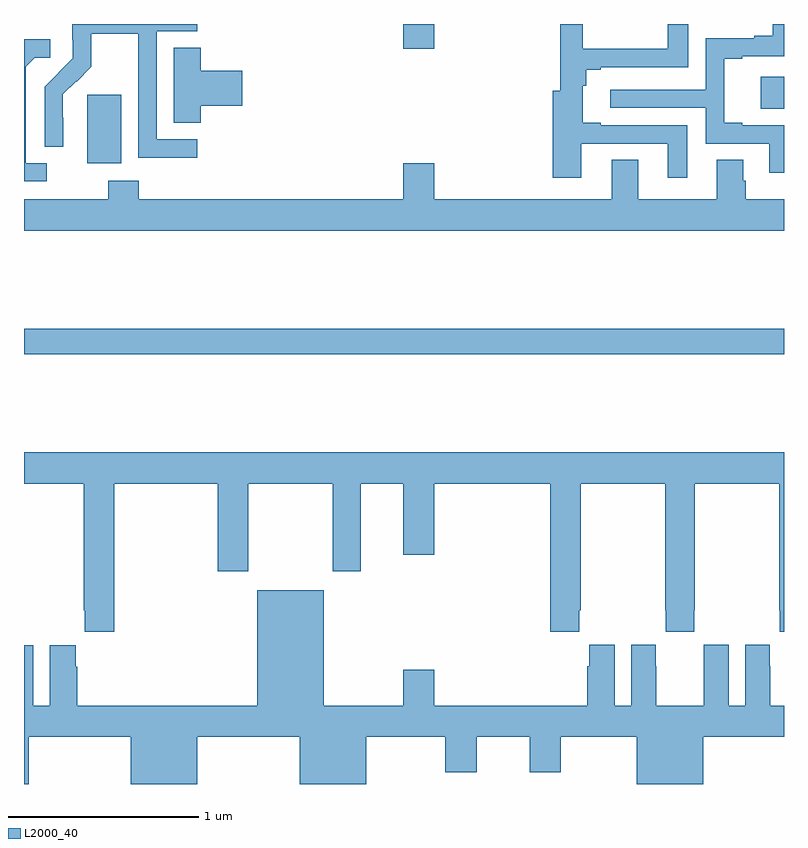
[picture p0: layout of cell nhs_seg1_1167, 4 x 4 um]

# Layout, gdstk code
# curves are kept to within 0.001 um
import gdstk
lib = gdstk.Library(unit=1e-6, precision=1e-09)
def R(c, l, rs):  # rectangles x0, y0, x1, y1
    for r in rs: c.add(gdstk.rectangle(r[:2], r[2:], *l))
def P(c, l, *ps):  # polygons
    for p in ps: c.add(gdstk.Polygon(p, *l))
L2000_40 = (2000, 40)

nhs_seg1_1167 = lib.new_cell('nhs_seg1_1167')
R(nhs_seg1_1167, L2000_40, [(175,504.46,179,504.596), (175.334,505.466,175.513,505.827), (178.878,505.754,179,505.921), (176.996,506.07,177.16,506.199)])
P(nhs_seg1_1167, L2000_40, [(177.934,505.569),(178.388,505.569),(178.388,505.389),(178.492,505.389),(178.492,505.665),(178.036,505.665),(178.036,505.678),(177.94,505.678),(177.94,505.874),(177.958,505.874),(177.958,505.959),(178.036,505.959),(178.036,505.971),(178.495,505.971),(178.495,506.199),(178.388,506.199),(178.388,506.068),(177.94,506.068),(177.94,506.199),(177.822,506.199),(177.822,505.849),(177.782,505.849),(177.782,505.389),(177.934,505.389)],
  [(179,505.665),(178.78,505.665),(178.78,505.678),(178.685,505.678),(178.685,506.016),(178.78,506.016),(178.78,506.028),(179,506.028),(179,506.199),(178.94,506.199),(178.94,506.137),(178.844,506.137),(178.844,506.124),(178.587,506.124),(178.587,505.854),(178.086,505.854),(178.086,505.758),(178.587,505.758),(178.587,505.569),(178.922,505.569),(178.922,505.416),(179,505.416)],
  [(175.912,505.593),(175.698,505.593),(175.698,506.16),(175.912,506.16),(175.912,506.199),(175.254,506.199),(175.254,506.115),(175.256,506.115),(175.256,506.018),(175.11,505.87),(175.11,505.552),(175.206,505.552),(175.205,505.829),(175.275,505.899),(175.278,505.896),(175.355,505.973),(175.355,506.148),(175.6,506.148),(175.6,505.924),(175.602,505.924),(175.602,505.495),(175.912,505.495)],
  [(175.12,505.467),(175.009,505.467),(175.009,505.975),(175.056,506.022),(175.138,506.022),(175.138,506.119),(175,506.119),(175,505.371),(175.12,505.371)],
  [(175.931,505.769),(176.149,505.769),(176.149,505.952),(175.931,505.952),(175.931,506.075),(175.787,506.075),(175.787,505.678),(175.931,505.678)],
  [(179,505.276),(178.799,505.276),(178.799,505.374),(178.786,505.374),(178.786,505.484),(178.646,505.484),(178.646,505.276),(178.234,505.276),(178.234,505.484),(178.094,505.484),(178.094,505.276),(177.16,505.276),(177.16,505.465),(176.996,505.465),(176.996,505.276),(175.604,505.276),(175.604,505.375),(175.444,505.375),(175.444,505.276),(175,505.276),(175,505.112),(179,505.112)],
  [(175.475,503.78),(176.021,503.78),(176.021,503.319),(176.181,503.319),(176.181,503.78),(176.626,503.78),(176.626,503.319),(176.773,503.319),(176.773,503.78),(176.996,503.78),(176.996,503.406),(177.16,503.406),(177.16,503.78),(177.77,503.78),(177.77,503.001),(177.923,503.001),(177.923,503.113),(177.93,503.113),(177.93,503.78),(178.375,503.78),(178.375,503.113),(178.377,503.113),(178.377,503.001),(178.527,503.001),(178.527,503.113),(178.53,503.113),(178.53,503.78),(178.975,503.78),(178.975,503.113),(178.977,503.113),(178.977,503.001),(179,503.001),(179,503.944),(175,503.944),(175,503.78),(175.315,503.78),(175.315,503.113),(175.319,503.113),(175.319,503.001),(175.475,503.001)],
  [(175.024,502.448),(175.562,502.448),(175.562,502.199),(175.912,502.199),(175.912,502.448),(176.45,502.448),(176.45,502.199),(176.8,502.199),(176.8,502.448),(177.218,502.448),(177.218,502.26),(177.382,502.26),(177.382,502.448),(177.662,502.448),(177.662,502.26),(177.826,502.26),(177.826,502.448),(178.226,502.448),(178.226,502.199),(178.576,502.199),(178.576,502.448),(179,502.448),(179,502.612),(178.927,502.612),(178.927,502.82),(178.926,502.82),(178.926,502.933),(178.796,502.933),(178.796,502.612),(178.708,502.612),(178.708,502.933),(178.578,502.933),(178.578,502.82),(178.577,502.82),(178.577,502.612),(178.327,502.612),(178.327,502.82),(178.326,502.82),(178.326,502.933),(178.196,502.933),(178.196,502.612),(178.108,502.612),(178.108,502.933),(177.974,502.933),(177.974,502.82),(177.965,502.82),(177.965,502.612),(177.16,502.612),(177.16,502.801),(176.996,502.801),(176.996,502.612),(176.578,502.612),(176.578,503.218),(176.228,503.218),(176.228,502.612),(175.28,502.612),(175.28,502.817),(175.273,502.817),(175.273,502.93),(175.136,502.93),(175.136,502.612),(175.048,502.612),(175.048,502.93),(175,502.93),(175,502.199),(175.024,502.199)])

lib.write_gds('nhs_seg1_1167.gds')
